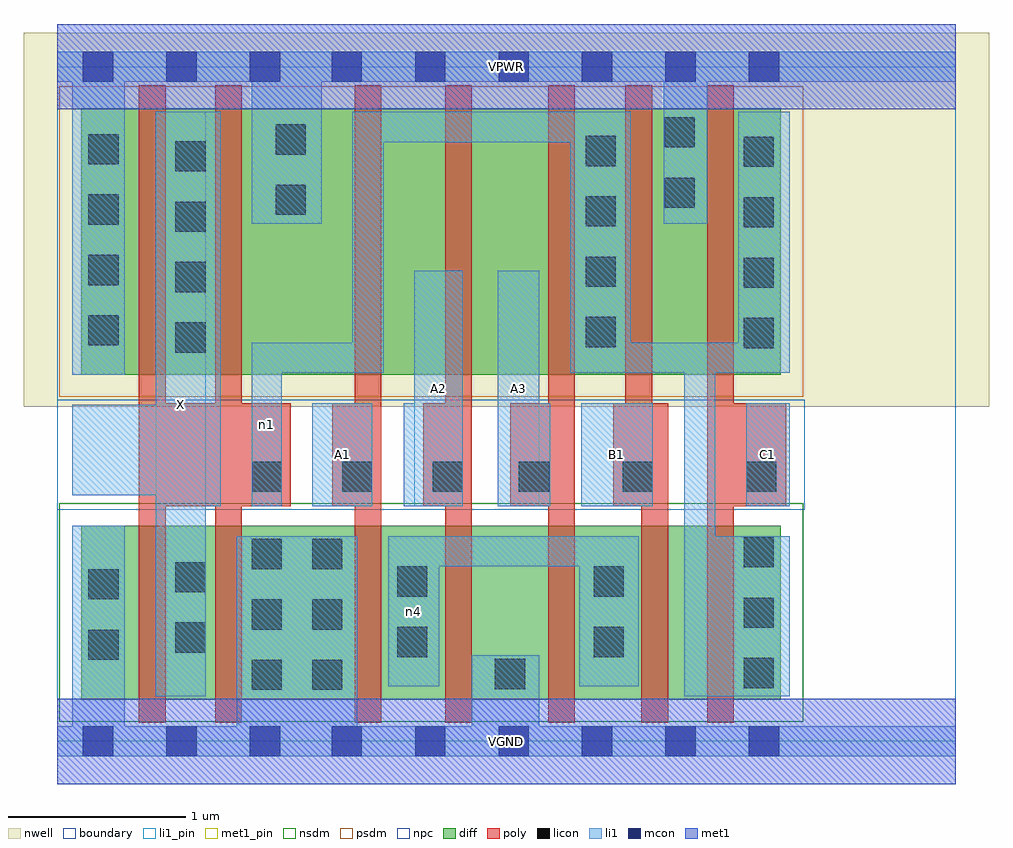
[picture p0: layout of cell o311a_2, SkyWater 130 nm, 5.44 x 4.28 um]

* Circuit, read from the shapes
.subckt o311a_2 A1 A2 A3 B1 C1 VGND VPWR X n1 n4
XM1 X n1 VGND VSUBS sky130_fd_pr__nfet_01v8 w=0.98 l=0.15 m=2
XM2 n4 A1 VGND VSUBS sky130_fd_pr__nfet_01v8 w=0.98 l=0.15
XM3 VGND A2 n4 VSUBS sky130_fd_pr__nfet_01v8 w=0.98 l=0.15
XM4 n4 A3 VGND VSUBS sky130_fd_pr__nfet_01v8 w=0.98 l=0.15
XM5 n2 B1 n4 VSUBS sky130_fd_pr__nfet_01v8 w=0.98 l=0.15
XM6 n1 C1 n2 VSUBS sky130_fd_pr__nfet_01v8 w=0.98 l=0.15
XM7 X n1 VPWR n3 sky130_fd_pr__pfet_01v8 w=1.5 l=0.15 m=2
XM8 n5 A1 VPWR n3 sky130_fd_pr__pfet_01v8 w=1.5 l=0.15
XM9 n6 A2 n5 n3 sky130_fd_pr__pfet_01v8 w=1.5 l=0.15
XM10 n1 A3 n6 n3 sky130_fd_pr__pfet_01v8 w=1.5 l=0.15
XM11 VPWR B1 n1 n3 sky130_fd_pr__pfet_01v8 w=1.5 l=0.15
XM12 n1 C1 VPWR n3 sky130_fd_pr__pfet_01v8 w=1.5 l=0.15
.ends

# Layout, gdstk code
import gdstk
lib = gdstk.Library(unit=1e-6, precision=1e-09)
def R(c, l, rs):  # rectangles x0, y0, x1, y1
    for r in rs: c.add(gdstk.rectangle(r[:2], r[2:], *l))
def A(c, l, x, y, w, h, nx, ny, dx, dy):  # array of equal rectangles
    R(c, l, [(x+i*dx, y+j*dy, x+i*dx+w, y+j*dy+h) for i in range(nx) for j in range(ny)])
nwell = (64, 20)
diff = (65, 20)
poly = (66, 20)
licon = (66, 44)
li1_pin = (67, 16)
li1 = (67, 20)
mcon = (67, 44)
met1_pin = (68, 16)
met1 = (68, 20)
nsdm = (93, 44)
psdm = (94, 20)
npc = (95, 20)
boundary = (235, 4)

o311a_2 = lib.new_cell('o311a_2')
R(o311a_2, nwell, [(-0.19,1.885,5.25,3.99), (0,1.885,5.06,3.99)])
R(o311a_2, diff, [(0.135,0.235,4.075,1.215), (0.135,2.065,4.075,3.565)])
R(o311a_2, poly, [(0.46,0.105,0.61,3.695), (0.89,0.105,1.04,3.695), (1.675,0.105,1.825,3.695), (2.185,0.105,2.335,3.695), (2.765,0.105,2.915,3.695), (3.29,0.105,3.44,1.905), (3.66,0.105,3.81,3.695), (0.46,1.325,1.315,1.905), (1.55,1.325,1.825,1.905), (2.06,1.325,2.335,1.905), (2.55,1.325,2.915,1.905), (3.13,1.325,3.44,1.905), (3.2,1.325,3.35,3.695), (3.66,1.325,4.105,1.905)])
A(o311a_2, licon, 1.095, 0.29, 0.17, 0.17, 1, 3, 0, 0.34)
A(o311a_2, licon, 1.435, 0.29, 0.17, 0.17, 1, 3, 0, 0.34)
A(o311a_2, licon, 3.865, 0.3, 0.17, 0.17, 1, 3, 0, 0.34)
A(o311a_2, licon, 1.095, 1.405, 0.17, 0.17, 3, 1, 0.51, 0)
A(o311a_2, licon, 0.665, 2.19, 0.17, 0.17, 1, 4, 0, 0.34)
A(o311a_2, licon, 3.865, 2.215, 0.17, 0.17, 1, 4, 0, 0.34)
A(o311a_2, licon, 2.975, 2.22, 0.17, 0.17, 1, 4, 0, 0.34)
A(o311a_2, licon, 0.175, 2.23, 0.17, 0.17, 1, 4, 0, 0.34)
R(o311a_2, licon, [(2.465,0.295,2.635,0.465), (0.175,0.46,0.345,0.63), (1.915,0.475,2.085,0.645), (3.02,0.475,3.19,0.645), (0.665,0.5,0.835,0.67), (0.175,0.8,0.345,0.97), (1.915,0.815,2.085,0.985), (3.02,0.815,3.19,0.985), (0.665,0.84,0.835,1.01), (2.6,1.405,2.77,1.575), (3.185,1.405,3.355,1.575), (3.88,1.405,4.05,1.575), (1.23,2.965,1.4,3.135), (3.42,3.005,3.59,3.175), (1.23,3.305,1.4,3.475), (3.42,3.345,3.59,3.515)])
R(o311a_2, li1_pin, [(0.555,0.255,0.835,3.545), (1.435,1.325,1.775,1.905), (2.01,1.325,2.285,2.65), (2.48,1.325,2.715,2.65), (2.95,1.325,3.355,1.905), (3.88,1.325,4.125,1.905)])
R(o311a_2, li1, [(0,-0.085,5.06,0.085), (0.085,-0.085,0.38,1.215), (1.01,-0.085,1.69,1.155), (2.335,-0.085,2.715,0.485), (0.555,0.255,0.835,3.545), (3.53,0.255,4.125,1.155), (3.53,0.255,3.705,2.245), (1.865,0.31,2.15,1.155), (2.94,0.31,3.275,1.155), (1.865,0.985,3.275,1.155), (0.555,1.325,0.92,3.545), (1.095,1.325,1.265,2.245), (1.435,1.325,1.775,1.905), (1.95,1.325,2.285,1.905), (2.01,1.325,2.285,2.65), (2.48,1.325,2.715,2.65), (2.48,1.325,2.775,1.905), (2.95,1.325,3.355,1.905), (3.88,1.325,4.125,1.905), (0.085,1.385,0.92,1.895), (0.085,2.065,0.38,3.885), (1.095,2.075,1.84,2.245), (1.66,2.075,1.84,3.545), (2.89,2.075,3.23,3.545), (2.89,2.075,4.125,2.245), (3.835,2.075,4.125,3.545), (1.095,2.915,1.49,3.885), (3.415,2.915,3.66,3.885), (1.66,3.375,3.23,3.545), (0,3.715,5.06,3.885)])
A(o311a_2, mcon, 0.145, -0.085, 0.17, 0.17, 3, 2, 0.47, 3.8)
A(o311a_2, mcon, 1.545, -0.085, 0.17, 0.17, 6, 2, 0.47, 3.8)
R(o311a_2, met1_pin, [(0,-0.24,5.06,0.24), (0,3.56,5.06,4.04)])
R(o311a_2, met1, [(0,-0.24,5.06,0.24), (0,3.56,5.06,4.04)])
R(o311a_2, nsdm, [(0.01,0.11,4.2,1.34)])
R(o311a_2, psdm, [(0.01,1.94,4.2,3.69)])
R(o311a_2, npc, [(0,1.305,4.21,1.925)])
R(o311a_2, boundary, [(0,0,5.06,3.8)])
o311a_2.add(gdstk.Label('A1', (1.605,1.615), layer=67, texttype=5))
o311a_2.add(gdstk.Label('A2', (2.147,1.987), layer=67, texttype=5))
o311a_2.add(gdstk.Label('A3', (2.597,1.987), layer=67, texttype=5))
o311a_2.add(gdstk.Label('B1', (3.152,1.615), layer=67, texttype=5))
o311a_2.add(gdstk.Label('C1', (4.002,1.615), layer=67, texttype=5))
o311a_2.add(gdstk.Label('X', (0.695,1.9), layer=67, texttype=5))
o311a_2.add(gdstk.Label('n4', (2.007,0.732), layer=67, texttype=5))
o311a_2.add(gdstk.Label('n1', (1.18,1.785), layer=67, texttype=5))
o311a_2.add(gdstk.Label('VPWR', (2.53,3.8), layer=68, texttype=5))
o311a_2.add(gdstk.Label('VGND', (2.53,0), layer=68, texttype=5))
o311a_2.add(gdstk.Label('A1', (1.605,1.615), layer=67, texttype=16))
o311a_2.add(gdstk.Label('A2', (2.147,1.987), layer=67, texttype=16))
o311a_2.add(gdstk.Label('A3', (2.597,1.987), layer=67, texttype=16))
o311a_2.add(gdstk.Label('B1', (3.152,1.615), layer=67, texttype=16))
o311a_2.add(gdstk.Label('C1', (4.002,1.615), layer=67, texttype=16))
o311a_2.add(gdstk.Label('X', (0.695,1.9), layer=67, texttype=16))
o311a_2.add(gdstk.Label('VPWR', (2.53,3.8), layer=68, texttype=16))
o311a_2.add(gdstk.Label('VGND', (2.53,0), layer=68, texttype=16))

lib.write_gds('o311a_2.gds')
